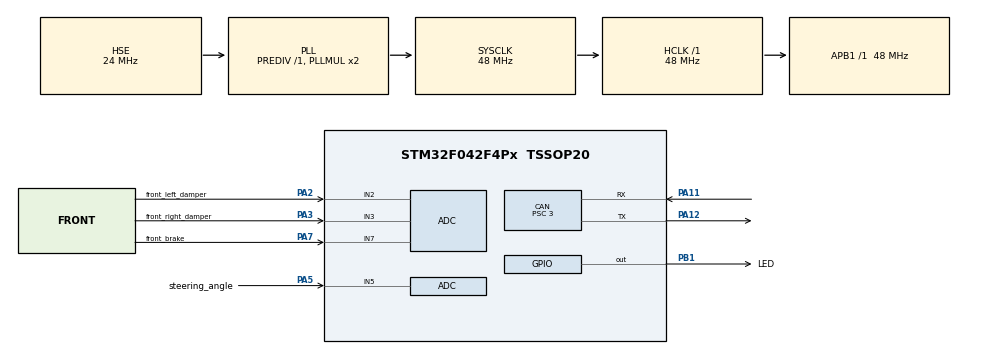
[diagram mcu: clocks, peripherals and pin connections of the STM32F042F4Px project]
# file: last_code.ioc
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ADC.ContinuousConvMode=ENABLE
ADC.DMAContinuousRequests=ENABLE
ADC.SamplingTime=ADC_SAMPLETIME_239CYCLES_5
CAN.BS1=CAN_BS1_13TQ
CAN.BS2=CAN_BS2_2TQ
CAN.CalculateBaudRate=1000000
CAN.CalculateTimeBit=1000
CAN.CalculateTimeQuantum=62.5
CAN.Prescaler=3
Dma.ADC.0.Direction=DMA_PERIPH_TO_MEMORY
Dma.ADC.0.Instance=DMA1_Channel1
Dma.ADC.0.MemDataAlignment=DMA_MDATAALIGN_HALFWORD
Dma.ADC.0.MemInc=DMA_MINC_ENABLE
Dma.ADC.0.Mode=DMA_CIRCULAR
Dma.ADC.0.PeriphDataAlignment=DMA_PDATAALIGN_HALFWORD
Dma.ADC.0.PeriphInc=DMA_PINC_DISABLE
Dma.ADC.0.Priority=DMA_PRIORITY_HIGH
Dma.Request0=ADC
Mcu.Family=STM32F0
Mcu.Name=STM32F042F4Px
Mcu.Package=TSSOP20
NVIC.CEC_CAN_IRQn=true\:0\:0\:false\:false\:true\:true\:true\:true
NVIC.DMA1_Channel1_IRQn=true\:0\:0\:false\:false\:true\:false\:true\:true
NVIC.TIM14_IRQn=true\:0\:0\:false\:false\:true\:true\:true\:true
PA11.Mode=CAN_Activate
PA11.Signal=CAN_RX
PA12.Mode=CAN_Activate
PA12.Signal=CAN_TX
PA13.Mode=Serial_Wire
PA13.Signal=SYS_SWDIO
PA14.Mode=Serial_Wire
PA14.Signal=SYS_SWCLK
PA2.GPIO_Label=front_left_damper
PA2.Mode=IN2
PA2.Signal=ADC_IN2
PA3.GPIO_Label=front_right_damper
PA3.Mode=IN3
PA3.Signal=ADC_IN3
PA5.GPIO_Label=steering_angle
PA5.Mode=IN5
PA5.Signal=ADC_IN5
PA7.GPIO_Label=front_brake
PA7.Mode=IN7
PA7.Signal=ADC_IN7
PB1.GPIO_Label=LED
PB1.PinState=GPIO_PIN_SET
PB1.Signal=GPIO_Output
PF0-OSC_IN.Mode=HSE-External-Oscillator
PF0-OSC_IN.Signal=RCC_OSC_IN
PF1-OSC_OUT.Mode=HSE-External-Oscillator
PF1-OSC_OUT.Signal=RCC_OSC_OUT
ProjectManager.HeapSize=0x200
ProjectManager.StackSize=0x400
ProjectManager.TargetToolchain=STM32CubeIDE
RCC.AHBFreq_Value=48000000
RCC.APB1Freq_Value=48000000
RCC.APB1TimFreq_Value=48000000
RCC.HCLKFreq_Value=48000000
RCC.HSE_VALUE=24000000
RCC.PLLSourceVirtual=RCC_PLLSOURCE_HSE
RCC.SYSCLKFreq_VALUE=48000000
RCC.SYSCLKSource=RCC_SYSCLKSOURCE_PLLCLK
TIM14.Period=200 - 1
TIM14.Prescaler=48000 - 1
VP_SYS_VS_PINREMAP.Mode=PINREMAP
VP_TIM14_VS_ClockSourceINT.Mode=Enable_Timer
board=custom

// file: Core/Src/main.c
/* USER CODE BEGIN Header */
/**
  ******************************************************************************
  * @file           : main.c
  * @brief          : Main program body
  ******************************************************************************
  * @attention
  *
  * Copyright (c) 2024 STMicroelectronics.
  * All rights reserved.
  *
  * This software is licensed under terms that can be found in the LICENSE file
  * in the root directory of this software component.
  * If no LICENSE file comes with this software, it is provided AS-IS.
  *
  ******************************************************************************
  */
/* USER CODE END Header */
#include "main.h"

/* USER CODE BEGIN PTD */
/*Struct which is going to store calibration data.*/
typedef struct Sensors_calibration_t {
  uint32_t steering_correction_factor;
  uint32_t damper_left_correction_factor;
  uint32_t damper_right_correction_factor;
  uint16_t min_steering;
  uint16_t max_steering;
  uint16_t min_damper_left;
  uint16_t max_damper_left;
  uint16_t min_damper_right;
  uint16_t max_damper_right;

} Sensors_calibration_t;

/*Struct which is going to store enable "signals".*/
typedef struct Calibration_config_t {
  uint8_t enable_calib_steering;
  uint8_t enable_calib_damper_left;
  uint8_t enable_calib_damper_right;
} Calibration_config_t;
/* USER CODE END PTD */

/* USER CODE BEGIN PD */
#define FLASH_PAGE_63 0x08007C00

/*CAN ID´s (you can check this values in Sensors Master Sheet).*/
#define CAN_ID_0 0x0B0
#define CAN_ID_2 0x0B2

/*Physical constant values.*/
#define MAX_STEERING 0x0031
#define MIN_STEERING 0
#define MAX_DAMPER_MM 0x0031
#define MIN_DAMPER_MM 0
/* USER CODE END PD */

ADC_HandleTypeDef hadc;
DMA_HandleTypeDef hdma_adc;

CAN_HandleTypeDef hcan;

TIM_HandleTypeDef htim14;

void SystemClock_Config(void);
static void MX_GPIO_Init(void);
static void MX_DMA_Init(void);
static void MX_ADC_Init(void);
static void MX_CAN_Init(void);
static void MX_TIM14_Init(void);

/* USER CODE BEGIN 0 */
volatile uint8_t enter_calibration_mode = 0;
volatile uint8_t abort_calibration = 0;

/*We create an instance of defined Structs.*/
Calibration_config_t calibration_config;
Sensors_calibration_t sensors_calibration = {
		.steering_correction_factor = 0x00000001,
		.damper_left_correction_factor = 0x00000001,
		.damper_right_correction_factor = 0x00000001,
		.min_steering = 0,
		.max_steering = 0xFFFF,
		.min_damper_left = 0,
		.max_damper_left = 0xFFFF,
		.min_damper_right = 0,
		.max_damper_right = 0xFFFF

};

uint32_t TxMailBox;

/*We define Header for trace 0x0B0.*/
CAN_TxHeaderTypeDef TxHeader_Steering_Brake = {
	.DLC = 4,
	.ExtId = 0,
 	.IDE = CAN_ID_STD,
	.RTR = CAN_RTR_DATA,
	.StdId = CAN_ID_0,
 	.TransmitGlobalTime = DISABLE
};

/*We define Header for trace 0x0B2.*/
CAN_TxHeaderTypeDef TxHeader_Dampers = {
	.DLC = 4,
	.ExtId = 0,
 	.IDE = CAN_ID_STD,
	.RTR = CAN_RTR_DATA,
	.StdId = CAN_ID_2,
 	.TransmitGlobalTime = DISABLE
};

uint8_t send;

/*We define Header for received traces.*/
CAN_RxHeaderTypeDef RxHeader;

/*Create buffer where converted values from ADC are stored.*/
uint16_t adc_buffer[4];
uint16_t auxData[4];

/*Create buffer to receive data from a CAN TRACE (in this code it is used to receive CANSEND "commands").*/
uint8_t RxData[8];

/*Create buffer to send data to CANBUS.*/
uint8_t TxData_Steering_Brake[4];
uint8_t TxData_Dampers[4];

uint32_t store_flash_memory(uint32_t memory_address, Sensors_calibration_t*data)
{
	/*We declare some useful variables.*/
	static FLASH_EraseInitTypeDef Erase_Init_Struct;
	uint32_t PAGEError;

	/*We unlock the memory in order to write*/
	HAL_FLASH_Unlock();

	/*Erase the USER FLASH area*/
	Erase_Init_Struct.NbPages = 1;
	Erase_Init_Struct.PageAddress = 0x08007C00; /*Start Address from where it starts to erase.*/
	Erase_Init_Struct.TypeErase = FLASH_TYPEERASE_PAGES;

	if(HAL_FLASHEx_Erase(&Erase_Init_Struct, &PAGEError) != HAL_OK)
	{
		return 1; /*We return if there is an error while erasing*/
	}

	/*We create some useful pointers to access struct data*/
	/*
	 * When adding 1 to a uint32_t pointer it adds 4 to the address (Word 4 bytes).
	 * When adding 1 to a uint16_t pointer it adds 2 to the address (Half word 2 bytes).
	 * */

	uint32_t * px = (uint32_t *)data;
	uint16_t * gx = (uint16_t *)data;

	/*We write data into FLASH*/
	for(int n=0; n<3; n++)
	{
		if(HAL_FLASH_Program(FLASH_TYPEPROGRAM_WORD, memory_address, *(px + n)) != HAL_OK)
			{
				return 1;
			}
		memory_address += 4;
	}

	for(int j=6; j<12; j++)
	{
		if(HAL_FLASH_Program(FLASH_TYPEPROGRAM_HALFWORD, memory_address, *(gx + j)) != HAL_OK)
		{
			return 1;
		}
		memory_address += 2;
	}

	/*We lock the memory to prevent writing*/
	HAL_FLASH_Lock();

	return 0;
};

uint32_t read_flash_memory(uint32_t memory_address, Sensors_calibration_t*data)
{
	/*We have to read values from memory in the same way we stored them. Same logic as when writing is applied.*/
	uint32_t * px = (uint32_t *)data;
	uint16_t * gx = (uint16_t *)data;

	for(int n=0; n<3; n++)
	{
		*(px+n) = *(__IO uint32_t *)memory_address;
		memory_address += 4;

	}

	for(int j = 6; j < 12; j++)
	{
		*(gx+j) = *(__IO uint16_t *)memory_address;
		memory_address += 2;
	}
	return 0;
}

void calibrate_sensors(Calibration_config_t* calib_config, Sensors_calibration_t* calib_struct) {

  uint16_t  temp_min_left_damper = 0X1000 , temp_min_right_damper = 0X1000, temp_min_steering = 0X1000;
  uint16_t temp_max_left_damper = 0 , temp_max_right_damper = 0, temp_max_steering = 0;

  while (enter_calibration_mode) {

    if (calib_config->enable_calib_damper_left) {
      if (adc_buffer[0] > temp_max_left_damper) temp_max_left_damper = adc_buffer[0];
      if (adc_buffer[0] < temp_min_left_damper) temp_min_left_damper = adc_buffer[0];
    }

    if (calib_config->enable_calib_damper_right) {
      if (adc_buffer[1] > temp_max_right_damper) temp_max_right_damper = adc_buffer[1];
      if (adc_buffer[1] < temp_min_right_damper) temp_min_right_damper = adc_buffer[1];
    }

    if (calib_config->enable_calib_steering) {
      if (adc_buffer[2] > temp_max_steering) temp_max_steering = adc_buffer[2];
      if (adc_buffer[2] < temp_min_steering) temp_min_steering = adc_buffer[2];
    }
  }

  if (!abort_calibration) {

    if (calib_config->enable_calib_steering && temp_min_steering != temp_max_steering) {
	  calib_config->enable_calib_steering = 0;
      calib_struct->min_steering = temp_min_steering;
      calib_struct->max_steering = temp_max_steering;
      calib_struct->steering_correction_factor = (((uint32_t) (MAX_STEERING - MIN_STEERING)) << 12) / (uint32_t)(temp_max_steering - temp_min_steering);
    }

    if (calib_config->enable_calib_damper_left && temp_min_left_damper != temp_max_left_damper) {
      calib_struct->min_damper_left = temp_min_left_damper;
      calib_struct->max_damper_left = temp_max_left_damper;
      calib_struct->damper_left_correction_factor = (((uint32_t)(MAX_DAMPER_MM - MIN_DAMPER_MM)) << 12) / (uint32_t)(temp_max_left_damper - temp_min_left_damper);
      calib_config->enable_calib_damper_left = 0;
    }

    if (calib_config->enable_calib_damper_right && temp_min_right_damper != temp_max_right_damper) {
      calib_struct->min_damper_right = temp_min_right_damper;
      calib_struct->max_damper_right = temp_max_right_damper;
      calib_struct->damper_right_correction_factor = (((uint32_t)(MAX_DAMPER_MM - MIN_DAMPER_MM)) << 12) / (uint32_t)(temp_max_right_damper - temp_min_right_damper);
      calib_config->enable_calib_damper_right = 0;
    }
    /*We store in memory the configured calibration*/
    store_flash_memory(FLASH_PAGE_63, calib_struct);
  }
}

static inline uint16_t linearTransformation(uint16_t raw_data, uint16_t min_raw_data, uint16_t min_real_value, uint32_t correction_factor, uint16_t max_real_value, uint16_t max_raw_data)
{
	/*We first check for special cases where the node has been configured badly and it can lead to wrong values.*/
	if(raw_data < min_raw_data) /*If we are reading something below the minimum value we return the minimum possible value.*/
	{
		return min_real_value;
	}

	if (raw_data > max_raw_data) /*If we are reading something above the maximum value we return the maximum possible value.*/
	{
		return max_real_value;
	}

	return (((raw_data - min_raw_data)*correction_factor >> 12))+ min_real_value; /*In the standard case we compute this transformation.*/
}
/* USER CODE END 0 */

int main(void)
{
  /* USER CODE BEGIN 1 */
  send = 0;
  read_flash_memory(FLASH_PAGE_63, &sensors_calibration); /*Whenever the node starts it reads from memory to obtain the calibration*/

  /* USER CODE END 1 */

  /* MCU Configuration--------------------------------------------------------*/

  /* Reset of all peripherals, Initializes the Flash interface and the Systick. */
  HAL_Init();

  /* Configure the system clock */
  SystemClock_Config();

  /* Initialize all configured peripherals */
  MX_GPIO_Init();
  MX_DMA_Init();
  MX_ADC_Init();
  MX_CAN_Init();
  MX_TIM14_Init();
  /* USER CODE BEGIN 2 */
  /*We initialize some services with its interruptions.*/
  HAL_TIM_Base_Start_IT(&htim14);

  HAL_ADC_Start_DMA(&hadc, (uint32_t *) adc_buffer, 4);
  HAL_ADC_Start_IT(&hadc);

  HAL_CAN_Start(&hcan);
  HAL_CAN_ActivateNotification(&hcan, CAN_IT_RX_FIFO0_MSG_PENDING);
  /* USER CODE END 2 */

  /* Infinite loop */
  /* USER CODE BEGIN WHILE */
  while (1)
  {
	  if(enter_calibration_mode)
	  {
		  calibrate_sensors(&calibration_config, &sensors_calibration);
	  }
	  if(send==1)
	  {
		/*We reset "send" byte.*/
		send = 0;

		/*We transfer data to the associated vector.*/
		TxData_Dampers[0] = auxData[0];
		TxData_Dampers[1] = auxData[0] >> 8;
		TxData_Dampers[2] = auxData[1];
		TxData_Dampers[3] = auxData[1] >> 8;

		TxData_Steering_Brake[0] = auxData[2];
		TxData_Steering_Brake[1] = auxData[2] >> 8;
		TxData_Steering_Brake[2] = auxData[3];
		TxData_Steering_Brake[3] = auxData[3] >> 8;

		HAL_CAN_AddTxMessage(&hcan, &TxHeader_Dampers, TxData_Dampers, &TxMailBox);
		HAL_CAN_AddTxMessage(&hcan, &TxHeader_Steering_Brake, TxData_Steering_Brake, &TxMailBox);

		/*We toggle the pin to be able to see a blinking effect and check physically if the node is sending data.*/
		HAL_GPIO_TogglePin(GPIOB, LED_Pin);
	  }
    /* USER CODE END WHILE */

  }
}

void SystemClock_Config(void)
{
  RCC_OscInitTypeDef RCC_OscInitStruct = {0};
  RCC_ClkInitTypeDef RCC_ClkInitStruct = {0};

  /** Initializes the RCC Oscillators according to the specified parameters
  * in the RCC_OscInitTypeDef structure.
  */
  RCC_OscInitStruct.OscillatorType = RCC_OSCILLATORTYPE_HSI14|RCC_OSCILLATORTYPE_HSE;
  RCC_OscInitStruct.HSEState = RCC_HSE_ON;
  RCC_OscInitStruct.HSI14State = RCC_HSI14_ON;
  RCC_OscInitStruct.HSI14CalibrationValue = 16;
  RCC_OscInitStruct.PLL.PLLState = RCC_PLL_ON;
  RCC_OscInitStruct.PLL.PLLSource = RCC_PLLSOURCE_HSE;
  RCC_OscInitStruct.PLL.PLLMUL = RCC_PLL_MUL2;
  RCC_OscInitStruct.PLL.PREDIV = RCC_PREDIV_DIV1;
  if (HAL_RCC_OscConfig(&RCC_OscInitStruct) != HAL_OK)
  {
    Error_Handler();
  }

  /** Initializes the CPU, AHB and APB buses clocks
  */
  RCC_ClkInitStruct.ClockType = RCC_CLOCKTYPE_HCLK|RCC_CLOCKTYPE_SYSCLK
                              |RCC_CLOCKTYPE_PCLK1;
  RCC_ClkInitStruct.SYSCLKSource = RCC_SYSCLKSOURCE_PLLCLK;
  RCC_ClkInitStruct.AHBCLKDivider = RCC_SYSCLK_DIV1;
  RCC_ClkInitStruct.APB1CLKDivider = RCC_HCLK_DIV1;

  if (HAL_RCC_ClockConfig(&RCC_ClkInitStruct, FLASH_LATENCY_1) != HAL_OK)
  {
    Error_Handler();
  }
}

static void MX_ADC_Init(void)
{

  ADC_ChannelConfTypeDef sConfig = {0};

  /** Configure the global features of the ADC (Clock, Resolution, Data Alignment and number of conversion)
  */
  hadc.Instance = ADC1;
  hadc.Init.ClockPrescaler = ADC_CLOCK_ASYNC_DIV1;
  hadc.Init.Resolution = ADC_RESOLUTION_12B;
  hadc.Init.DataAlign = ADC_DATAALIGN_RIGHT;
  hadc.Init.ScanConvMode = ADC_SCAN_DIRECTION_FORWARD;
  hadc.Init.EOCSelection = ADC_EOC_SINGLE_CONV;
  hadc.Init.LowPowerAutoWait = DISABLE;
  hadc.Init.LowPowerAutoPowerOff = DISABLE;
  hadc.Init.ContinuousConvMode = ENABLE;
  hadc.Init.DiscontinuousConvMode = DISABLE;
  hadc.Init.ExternalTrigConv = ADC_SOFTWARE_START;
  hadc.Init.ExternalTrigConvEdge = ADC_EXTERNALTRIGCONVEDGE_NONE;
  hadc.Init.DMAContinuousRequests = ENABLE;
  hadc.Init.Overrun = ADC_OVR_DATA_PRESERVED;
  if (HAL_ADC_Init(&hadc) != HAL_OK)
  {
    Error_Handler();
  }

  /** Configure for the selected ADC regular channel to be converted.
  */
  sConfig.Channel = ADC_CHANNEL_2;
  sConfig.Rank = ADC_RANK_CHANNEL_NUMBER;
  sConfig.SamplingTime = ADC_SAMPLETIME_239CYCLES_5;
  if (HAL_ADC_ConfigChannel(&hadc, &sConfig) != HAL_OK)
  {
    Error_Handler();
  }

  /** Configure for the selected ADC regular channel to be converted.
  */
  sConfig.Channel = ADC_CHANNEL_3;
  if (HAL_ADC_ConfigChannel(&hadc, &sConfig) != HAL_OK)
  {
    Error_Handler();
  }

  /** Configure for the selected ADC regular channel to be converted.
  */
  sConfig.Channel = ADC_CHANNEL_5;
  if (HAL_ADC_ConfigChannel(&hadc, &sConfig) != HAL_OK)
  {
    Error_Handler();
  }

  /** Configure for the selected ADC regular channel to be converted.
  */
  sConfig.Channel = ADC_CHANNEL_7;
  if (HAL_ADC_ConfigChannel(&hadc, &sConfig) != HAL_OK)
  {
    Error_Handler();
  }

}

static void MX_CAN_Init(void)
{

  hcan.Instance = CAN;
  hcan.Init.Prescaler = 3;
  hcan.Init.Mode = CAN_MODE_NORMAL;
  hcan.Init.SyncJumpWidth = CAN_SJW_1TQ;
  hcan.Init.TimeSeg1 = CAN_BS1_13TQ;
  hcan.Init.TimeSeg2 = CAN_BS2_2TQ;
  hcan.Init.TimeTriggeredMode = DISABLE;
  hcan.Init.AutoBusOff = DISABLE;
  hcan.Init.AutoWakeUp = DISABLE;
  hcan.Init.AutoRetransmission = DISABLE;
  hcan.Init.ReceiveFifoLocked = DISABLE;
  hcan.Init.TransmitFifoPriority = DISABLE;
  if (HAL_CAN_Init(&hcan) != HAL_OK)
  {
    Error_Handler();
  }
  /* USER CODE BEGIN CAN_Init 2 */
  /*We define our filter which is used to filter valid commands from invalid ones.*/
  CAN_FilterTypeDef canfilterconfig;
  canfilterconfig.FilterActivation = CAN_FILTER_ENABLE;
  canfilterconfig.FilterBank = 10;
  canfilterconfig.FilterFIFOAssignment = CAN_RX_FIFO0;
  canfilterconfig.FilterIdHigh = 0x0F2<<5;
  canfilterconfig.FilterIdLow = 0x0000;
  canfilterconfig.FilterMaskIdHigh = 0x0F2<<5;
  canfilterconfig.FilterMaskIdLow = 0x0000;
  canfilterconfig.FilterMode = CAN_FILTERMODE_IDMASK;
  canfilterconfig.FilterScale = CAN_FILTERSCALE_32BIT;
  canfilterconfig.SlaveStartFilterBank = 0;

  HAL_CAN_ConfigFilter(&hcan, &canfilterconfig);
  /* USER CODE END CAN_Init 2 */

}

static void MX_TIM14_Init(void)
{

  htim14.Instance = TIM14;
  htim14.Init.Prescaler = 48000 - 1;
  htim14.Init.CounterMode = TIM_COUNTERMODE_UP;
  htim14.Init.Period = 200 - 1;
  htim14.Init.ClockDivision = TIM_CLOCKDIVISION_DIV1;
  htim14.Init.AutoReloadPreload = TIM_AUTORELOAD_PRELOAD_DISABLE;
  if (HAL_TIM_Base_Init(&htim14) != HAL_OK)
  {
    Error_Handler();
  }

}

static void MX_DMA_Init(void)
{

  /* DMA controller clock enable */
  __HAL_RCC_DMA1_CLK_ENABLE();

  /* DMA interrupt init */
  /* DMA1_Channel1_IRQn interrupt configuration */
  HAL_NVIC_SetPriority(DMA1_Channel1_IRQn, 0, 0);
  HAL_NVIC_EnableIRQ(DMA1_Channel1_IRQn);

}

static void MX_GPIO_Init(void)
{
  GPIO_InitTypeDef GPIO_InitStruct = {0};

  /* GPIO Ports Clock Enable */
  __HAL_RCC_GPIOF_CLK_ENABLE();
  __HAL_RCC_GPIOA_CLK_ENABLE();
  __HAL_RCC_GPIOB_CLK_ENABLE();

  /*Configure GPIO pin Output Level */
  HAL_GPIO_WritePin(LED_GPIO_Port, LED_Pin, GPIO_PIN_SET);

  /*Configure GPIO pin : LED_Pin */
  GPIO_InitStruct.Pin = LED_Pin;
  GPIO_InitStruct.Mode = GPIO_MODE_OUTPUT_PP;
  GPIO_InitStruct.Pull = GPIO_NOPULL;
  GPIO_InitStruct.Speed = GPIO_SPEED_FREQ_LOW;
  HAL_GPIO_Init(LED_GPIO_Port, &GPIO_InitStruct);

}

/* USER CODE BEGIN 4 */
/*When the buffer is "full" this interruption is activated*/
void HAL_ADC_ConvCpltCallback(ADC_HandleTypeDef* hadc)
{
	auxData[0] = linearTransformation((uint16_t) adc_buffer[0], sensors_calibration.min_damper_left, MIN_DAMPER_MM, sensors_calibration.damper_left_correction_factor, MAX_DAMPER_MM, sensors_calibration.max_damper_left);
	auxData[1] = linearTransformation((uint16_t)adc_buffer[1], sensors_calibration.min_damper_right, MIN_DAMPER_MM, sensors_calibration.damper_right_correction_factor, MAX_DAMPER_MM, sensors_calibration.max_damper_right);
	auxData[2] = linearTransformation((uint16_t)adc_buffer[2], sensors_calibration.min_steering, MIN_STEERING, sensors_calibration.steering_correction_factor, MAX_STEERING, sensors_calibration.max_steering);
	auxData[3] = (uint16_t)adc_buffer[3];
}
/*We use this interruption to regulate when we want to send data to CANBUS.*/
void HAL_TIM_PeriodElapsedCallback(TIM_HandleTypeDef *htim){
	if(htim->Instance == TIM14){
		send = 1;
	}
}
/*We use this interruption to handle commands that are received from CAN.*/
void HAL_CAN_RxFifo0MsgPendingCallback(CAN_HandleTypeDef* hcan) {

  if (HAL_CAN_GetRxMessage(hcan, CAN_RX_FIFO0, &RxHeader, RxData) != HAL_OK)
  {
    /* Reception Error */
    Error_Handler();
  }

  switch (RxData[0]) {

  case 0xAA: /*start calibration command*/
    enter_calibration_mode = 1;
    abort_calibration = 0;
    calibration_config.enable_calib_steering = RxData[1] == 0xAA ? 1 : 0;
    calibration_config.enable_calib_damper_left = RxData[2] == 0xAA ? 1 : 0;
    calibration_config.enable_calib_damper_right = RxData[3] == 0xAA ? 1 : 0;
    break;

  case 0xAB: /*end calibration command*/
    enter_calibration_mode = 0;
    abort_calibration = 0;
    break;

  case 0xAC: /*abort calibration command*/
    enter_calibration_mode = 0;
    abort_calibration = 1;
    calibration_config.enable_calib_steering = 0;
    calibration_config.enable_calib_damper_left = 0;
    calibration_config.enable_calib_damper_right = 0;
    break;
  case 0xAD: /*read from memory command*/
	read_flash_memory(FLASH_PAGE_63, &sensors_calibration);
	break;
    /*add more commands here if needed*/
  }
}
/* USER CODE END 4 */

void Error_Handler(void)
{
  __disable_irq();
  while (1)
  {
  }
}
